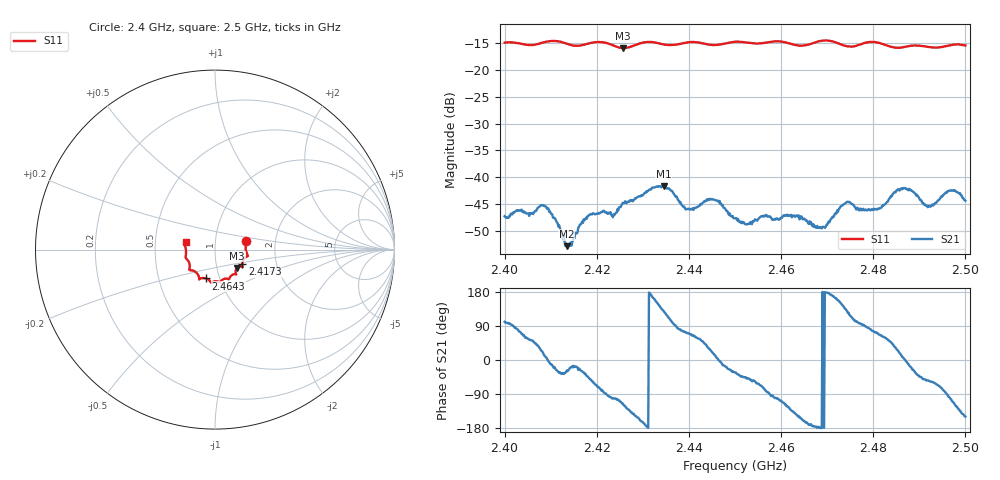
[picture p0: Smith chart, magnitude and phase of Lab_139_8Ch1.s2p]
# Hz S RI R 50
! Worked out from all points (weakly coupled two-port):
!   601 points, 2.4 GHz to 2.5 GHz, reference 50 ohm
!   highest |S21| = -41.62 dB at 2.4345 GHz (marker M1); lowest = -52.8 dB at 2.4135 GHz (marker M2)
!   lowest |S11| = -15.9 dB at 2.4257 GHz (marker M3), VSWR 1.38, Z = 62.5 - j13.1 ohm
!   |S11| at or under -10 dB: start of sweep to end of sweep
!   S12 and S22 are empty: the file has one direction only
!   S11 on the Smith chart (normalised r, x): 2.4 GHz: 1.41, +0.14; 2.4173 GHz: 1.34, -0.22; 2.4643 GHz: 0.86, -0.29; 2.5 GHz: 0.72, +0.06
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2.4e9  0.1729 0.0487  -0.000797 0.00426  0 0  0 0
2.4085e9  0.1795 -0.025  0.00533 0.00136  0 0  0 0
2.4135e9  0.17 -0.0436  0.00202 -0.00106  0 0  0 0
2.416667e9  0.1528 -0.0741  0.00324 -0.00178  0 0  0 0
2.417333e9  0.1519 -0.0816  0.00323 -0.00235  0 0  0 0
2.423667e9  0.14 -0.0941  -0.000902 -0.00442  0 0  0 0
2.425667e9  0.1231 -0.1022  -0.00244 -0.00523  0 0  0 0
2.433333e9  0.1128 -0.137  -0.00684 0.00443  0 0  0 0
2.4345e9  0.1057 -0.1368  -0.00523 0.00645  0 0  0 0
2.439333e9  0.08 -0.1608  0.00145 0.00479  0 0  0 0
2.445e9  0.0558 -0.1618  0.00586 0.00225  0 0  0 0
2.45e9  0.0289 -0.181  0.00351 -0.00223  0 0  0 0
2.464333e9  -0.0497 -0.161  -0.0039 -0.00189  0 0  0 0
2.466667e9  -0.0759 -0.1594  -0.00355 -0.000427  0 0  0 0
2.469333e9  -0.0883 -0.1661  -0.00342 -7.93e-05  0 0  0 0
2.474333e9  -0.1 -0.1328  -0.00371 0.0046  0 0  0 0
2.479e9  -0.1413 -0.1146  0.000526 0.00503  0 0  0 0
2.483333e9  -0.1407 -0.09  0.00386 0.00482  0 0  0 0
2.4865e9  -0.1519 -0.0592  0.00787 0.000812  0 0  0 0
2.492e9  -0.1617 -0.0254  0.00319 -0.00442  0 0  0 0
2.496667e9  -0.1684 0.0249  -0.00138 -0.00741  0 0  0 0
2.5e9  -0.1639 0.0428  -0.00521 -0.00306  0 0  0 0
